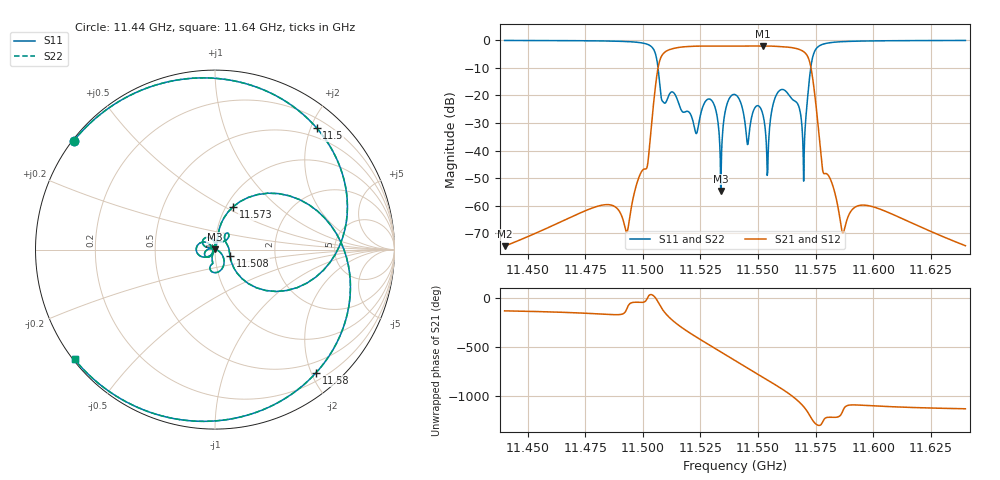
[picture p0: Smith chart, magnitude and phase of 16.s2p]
! This file was generated by CST Filter Designer 3D
! Date:  05.11.2025 19:28:43
# MHZ S RI R 50
!  Frequency  Re(S11)  Im(S11)  Re(S21)  Im(S21)  Re(S12)  Im(S12)  Re(S22)  Im(S22)
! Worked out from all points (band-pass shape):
!   1001 points, 11.44 GHz to 11.64 GHz, reference 50 ohm
!   highest |S21| = -2.06 dB at 11.552 GHz (marker M1); lowest = -74.6 dB at 11.44 GHz (marker M2)
!   |S21| within 3 dB of the highest: 11.509 GHz to 11.571 GHz (62.29 MHz wide, 0.54 % of centre)
!   lowest |S11| = -54.6 dB at 11.534 GHz (marker M3), VSWR 1.00, Z = 49.9 + j0.166 ohm
!   |S11| at or under -10 dB: 11.507 GHz to 11.573 GHz (66.29 MHz wide, 0.574 % of centre)
!   |S22| runs from -54.6 to -0.1 dB; largest |S21 - S12| = 0
!   S11 on the Smith chart (normalised r, x): 11.44 GHz: 0.00, +0.34; 11.5 GHz: 0.34, +2.09; 11.508 GHz: 1.18, -0.08; 11.573 GHz: 1.08, +0.55; 11.58 GHz: 0.32, -2.07; 11.64 GHz: 0.00, -0.34
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11440  -0.7878 0.6049  -0.000119 -0.000142  -0.000119 -0.000142  -0.7878 0.6049
11473.4  -0.5 0.8454  -0.000672 -0.000355  -0.000672 -0.000355  -0.5 0.8454
11493  0.0806 0.9449  -0.000123 -0.000311  -0.000123 -0.000311  0.0806 0.9449
11500.4  0.5657 0.6785  0.00349 -0.00301  0.00349 -0.00301  0.5657 0.6785
11506.8  0.1853 -0.1892  0.235 -0.2587  0.235 -0.2587  0.1853 -0.1892
11508  0.0832 -0.0338  -0.0605 -0.5021  -0.0605 -0.5021  0.0832 -0.0338
11515  0.064 0.054  -0.034 0.735  -0.034 0.735  0.064 0.054
11521.2  0.00823 0.04  0.7704 -0.104  0.7704 -0.104  0.00823 0.04
11527.2  -0.0691 0.0372  -0.064 -0.7821  -0.064 -0.7821  -0.0691 0.0372
11533.8  -0.000823 0.00166  -0.7765 0.1164  -0.7765 0.1164  -0.000823 0.00166
11540  -0.1033 0.011  0.1006 0.774  0.1006 0.774  -0.1033 0.011
11546  -0.0127 -0.0125  0.7869 -0.0398  0.7869 -0.0398  -0.0127 -0.0125
11552.2  -0.0435 -0.00116  0.00359 -0.7889  0.00359 -0.7889  -0.0435 -0.00116
11558.2  0.0444 -0.0974  -0.7726 -0.0659  -0.7726 -0.0659  0.0444 -0.0974
11563.8  -0.0265 -0.0929  -0.0977 0.7384  -0.0977 0.7384  -0.0265 -0.0929
11569.8  -0.00258 0.00109  0.5468 -0.2966  0.5468 -0.2966  -0.00258 0.00109
11572.6  0.1006 0.2384  -0.2154 -0.3091  -0.2154 -0.3091  0.1006 0.2384
11573.4  0.2961 0.3143  -0.2306 -0.0993  -0.2306 -0.0993  0.2961 0.3143
11580  0.5625 -0.6868  -0.0028 -0.00251  -0.0028 -0.00251  0.5625 -0.6868
11586.8  0.1159 -0.9385  0.000104 -0.000302  0.000104 -0.000302  0.1159 -0.9385
11606.8  -0.4922 -0.8497  0.000663 -0.000348  0.000663 -0.000348  -0.4922 -0.8497
11640  -0.7827 -0.6113  0.000122 -0.000145  0.000122 -0.000145  -0.7827 -0.6113
